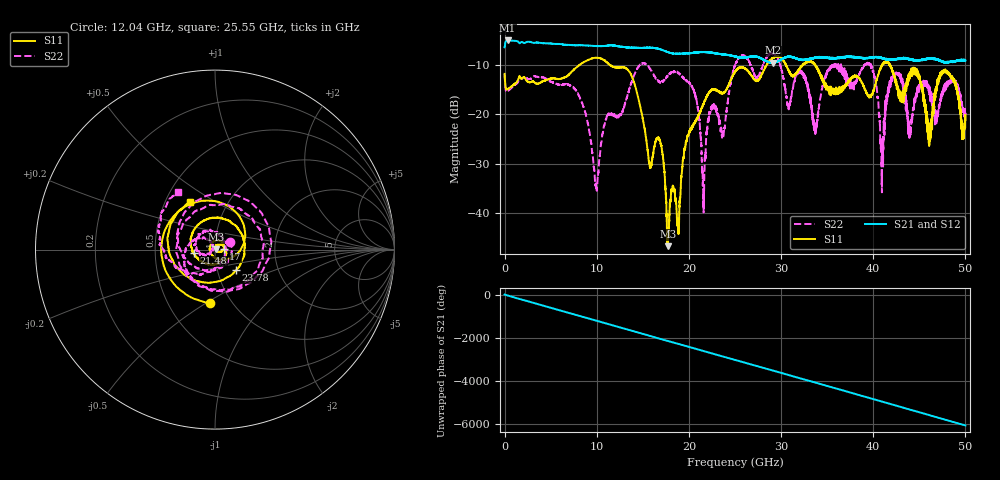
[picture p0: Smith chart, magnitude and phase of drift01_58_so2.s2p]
!Created with skrf (http://scikit-rf.org).
# Hz S RI R 50.0
!freq ReS11 ImS11 ReS21 ImS21 ReS12 ImS12 ReS22 ImS22
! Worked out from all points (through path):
!   10001 points, 300 kHz to 50 GHz, reference 50 ohm
!   highest |S21| = -5.05 dB at 325.3 MHz (marker M1); lowest = -9.6 dB at 29.11 GHz (marker M2)
!   group delay of S21, straight-line fit = 336 ps
!   lowest |S11| = -46.7 dB at 17.73 GHz (marker M3), VSWR 1.01, Z = 50.5 + j0.0747 ohm
!   |S11| at or under -10 dB: start of sweep to 8.144 GHz; 11.43 GHz to 28.42 GHz (16.99 GHz wide, 85.3 % of centre); 41.83 GHz to end of sweep (the widest 3 of 11)
!   |S22| runs from -39.9 to -7.6 dB; largest |S21 - S12| = 0.015
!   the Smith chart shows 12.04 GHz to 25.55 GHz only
!   S11 on the Smith chart (normalised r, x): 12.04 GHz: 0.80, -0.52; 17 GHz: 1.10, +0.01; 21.48 GHz: 0.79, -0.03; 23.78 GHz: 1.22, -0.29; 25.55 GHz: 0.67, +0.39
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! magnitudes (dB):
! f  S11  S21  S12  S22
! 300 kHz  -11.8  -6.4  -6.5  -11.8
! 325.3 MHz  -14.9  -5.0  -5.1  -15.3
! 8.335 GHz  -9.7  -6.0  -6.0  -17.4
! 9.95 GHz  -8.5  -6.2  -6.2  -35.0
! 12.04 GHz  -10.5  -6.1  -6.1  -20.3
! 16.67 GHz  -24.8  -6.7  -6.7  -13.3
! 17 GHz  -26.2  -6.9  -6.9  -13.5
! 17.73 GHz  -46.7  -7.4  -7.4  -12.1
! 20.5 GHz  -22.1  -7.5  -7.5  -15.0
! 21.48 GHz  -18.4  -7.4  -7.4  -31.6
! 22.47 GHz  -15.1  -7.5  -7.5  -19.1
! 23.78 GHz  -15.8  -7.9  -7.9  -23.8
! 25 GHz  -11.4  -8.3  -8.3  -10.2
! 25.55 GHz  -10.5  -8.5  -8.5  -8.3
! 29.11 GHz  -8.6  -9.6  -9.5  -7.8
! 33.34 GHz  -9.5  -8.7  -8.7  -19.1
! 39.49 GHz  -16.3  -8.6  -8.6  -9.7
! 40.97 GHz  -10.1  -8.6  -8.6  -28.6
! 41.67 GHz  -9.5  -8.8  -8.9  -14.7
! 46.12 GHz  -22.7  -8.6  -8.6  -14.5
! 48.04 GHz  -11.5  -9.4  -9.3  -14.1
! 50 GHz  -20.9  -9.1  -9.1  -20.2
